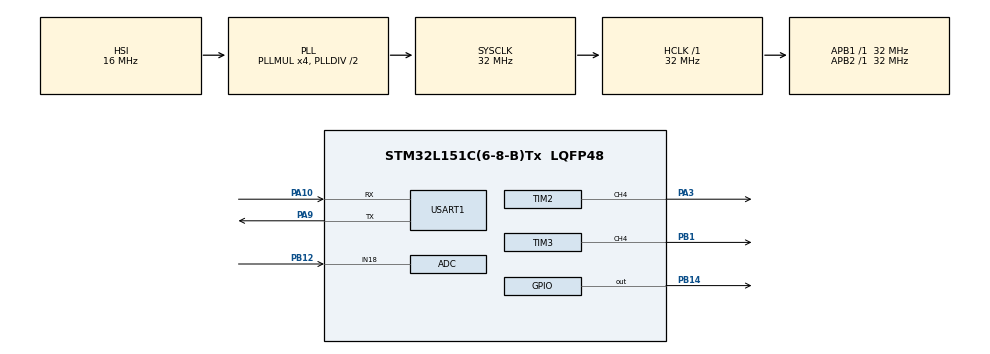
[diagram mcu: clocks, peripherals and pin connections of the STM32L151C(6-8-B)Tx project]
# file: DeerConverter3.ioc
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ADC.Channel-2\#ChannelRegularConversion=ADC_CHANNEL_18
ADC.DMAContinuousRequests=ENABLE
ADC.ExternalTrigConv=ADC_EXTERNALTRIGCONV_T3_TRGO
ADC.NbrOfConversionFlag=1
ADC.Rank-2\#ChannelRegularConversion=1
ADC.SamplingTime-2\#ChannelRegularConversion=ADC_SAMPLETIME_4CYCLES
ADC.ScanConvMode=ADC_SCAN_ENABLE
Dma.ADC.0.Direction=DMA_PERIPH_TO_MEMORY
Dma.ADC.0.Instance=DMA1_Channel1
Dma.ADC.0.MemDataAlignment=DMA_MDATAALIGN_HALFWORD
Dma.ADC.0.MemInc=DMA_MINC_ENABLE
Dma.ADC.0.Mode=DMA_CIRCULAR
Dma.ADC.0.PeriphDataAlignment=DMA_PDATAALIGN_HALFWORD
Dma.ADC.0.PeriphInc=DMA_PINC_DISABLE
Dma.ADC.0.Priority=DMA_PRIORITY_VERY_HIGH
Dma.Request0=ADC
Mcu.Family=STM32L1
Mcu.Name=STM32L151C(6-8-B)Tx
Mcu.Package=LQFP48
NVIC.ADC1_IRQn=true\:0\:0\:false\:false\:true\:true\:true\:true
NVIC.DMA1_Channel1_IRQn=true\:0\:0\:false\:false\:true\:false\:true\:true
NVIC.PriorityGroup=NVIC_PRIORITYGROUP_4
NVIC.TIM2_IRQn=true\:0\:0\:false\:false\:true\:true\:true\:true
PA10.Mode=Asynchronous
PA10.Signal=USART1_RX
PA13.Mode=Serial_Wire
PA13.Signal=SYS_JTMS-SWDIO
PA14.Mode=Serial_Wire
PA14.Signal=SYS_JTCK-SWCLK
PA3.Signal=S_TIM2_CH4
PA9.Mode=Asynchronous
PA9.Signal=USART1_TX
PB1.Signal=S_TIM3_CH4
PB12.Mode=IN18
PB12.Signal=ADC_IN18
PB14.GPIO_Speed=GPIO_SPEED_FREQ_VERY_HIGH
PB14.Signal=GPIO_Output
ProjectManager.HeapSize=0x200
ProjectManager.StackSize=0x400
ProjectManager.TargetToolchain=STM32CubeIDE
RCC.48MHZClocksFreq_Value=32000000
RCC.AHBFreq_Value=32000000
RCC.APB1Freq_Value=32000000
RCC.APB1TimFreq_Value=32000000
RCC.APB2Freq_Value=32000000
RCC.APB2TimFreq_Value=32000000
RCC.HCLKFreq_Value=32000000
RCC.HSE_VALUE=24000000
RCC.HSI_VALUE=16000000
RCC.LSE_VALUE=32768
RCC.MSI_VALUE=2097000
RCC.PLLMUL=RCC_PLL_MUL4
RCC.SYSCLKFreq_VALUE=32000000
RCC.SYSCLKSource=RCC_SYSCLKSOURCE_PLLCLK
RCC.VCOOutputFreq_Value=64000000
SH.S_TIM2_CH4.0=TIM2_CH4,PWM Generation4 CH4
SH.S_TIM3_CH4.0=TIM3_CH4,Output Compare4 CH4
TIM2.AutoReloadPreload=TIM_AUTORELOAD_PRELOAD_ENABLE
TIM2.Channel-PWM\ Generation4\ CH4=TIM_CHANNEL_4
TIM2.CounterMode=TIM_COUNTERMODE_CENTERALIGNED3
TIM2.Period=100
TIM2.Prescaler=0
TIM2.Pulse-PWM\ Generation4\ CH4=40
TIM2.TIM_MasterOutputTrigger=TIM_TRGO_UPDATE
TIM2.TIM_MasterSlaveMode=TIM_MASTERSLAVEMODE_DISABLE
TIM3.AutoReloadPreload=TIM_AUTORELOAD_PRELOAD_ENABLE
TIM3.Channel-Output\ Compare4\ CH4=TIM_CHANNEL_4
TIM3.CounterMode=TIM_COUNTERMODE_CENTERALIGNED3
TIM3.OCMode_4=TIM_OCMODE_TOGGLE
TIM3.Period=200
TIM3.Pulse-Output\ Compare4\ CH4=100
TIM3.TIM_MasterOutputTrigger=TIM_TRGO_OC1
TIM3.TIM_MasterSlaveMode=TIM_MASTERSLAVEMODE_DISABLE
TIM4.Channel-PWM\ Generation4\ No\ Output=TIM_CHANNEL_4
TIM4.Period=99
TIM4.TIM_MasterOutputTrigger=TIM_TRGO_UPDATE
USART1.VirtualMode=VM_ASYNC
VP_TIM2_VS_ClockSourceINT.Mode=Internal
VP_TIM2_VS_ClockSourceITR.Mode=TriggerSource_ITR3
VP_TIM2_VS_ControllerModeTrigger.Mode=Trigger Mode
VP_TIM3_VS_ClockSourceITR.Mode=TriggerSource_ITR3
VP_TIM3_VS_ControllerModeTrigger.Mode=Trigger Mode
VP_TIM4_VS_no_output4.Mode=PWM Generation4 No Output
board=custom

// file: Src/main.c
/* USER CODE BEGIN Header */
/**
  ******************************************************************************
  * @file           : main.c
  * @brief          : Main program body
  ******************************************************************************
  * @attention
  *
  * Copyright (c) 2026 STMicroelectronics.
  * All rights reserved.
  *
  * This software is licensed under terms that can be found in the LICENSE file
  * in the root directory of this software component.
  * If no LICENSE file comes with this software, it is provided AS-IS.
  *
  ******************************************************************************
  */
/* USER CODE END Header */
#include "main.h"

/* USER CODE BEGIN Includes */
#include <stdint.h>
#include <stdio.h>
#include <stdlib.h>
#include "control_params.h"
#include "compensator.h"
/* USER CODE END Includes */

/* USER CODE BEGIN PD */
//#define VREFINT_CAL_ADDR ((uint16_t*) ((uint32_t)0x1FF80078))

#define DUTY_TICKS_MIN (0)
#define DUTY_TICKS_MAX (80) //given by 0.8*arr_val (which is 100)
#define SCALE (1 << 20)
#define Kp 0.002
#define Ki 0.00009
#define KP_SCALED (uint32_t)(Kp * SCALE)
#define KI_SCALED (uint32_t)(Ki * SCALE)
#define SOFT_START_PRESCALER (2)

/* USER CODE END PD */

ADC_HandleTypeDef hadc;
DMA_HandleTypeDef hdma_adc;

TIM_HandleTypeDef htim2;
TIM_HandleTypeDef htim3;
TIM_HandleTypeDef htim4;

UART_HandleTypeDef huart1;

void SystemClock_Config(void);
static void MX_GPIO_Init(void);
static void MX_DMA_Init(void);
static void MX_TIM2_Init(void);
static void MX_ADC_Init(void);
static void MX_USART1_UART_Init(void);
static void MX_TIM3_Init(void);
static void MX_TIM4_Init(void);

/* USER CODE BEGIN 0 */
//int switching_frequency = 160000;
float y_n[4] = {0}; //duty cycle output and previous duty cycle outputs
float e_n[4] = {0}; //error (vref - vmeasured). scaled by the ADC and resistor divider network feeding into ADC
float Vin = 12.0;
float integral = 0.0;
int32_t closed_loop_pulse; //the pulse determined by the controller when in closed-feedback loop mode
int32_t the_new_integral=0; //this term is being used for a new, hopefully faster PI controller
int32_t new_PI_output = 0.0;
const int32_t duty_ticks_max_scaled = SCALE*DUTY_TICKS_MAX;
int32_t v_error;
uint32_t period; //the ARR register value. Clock freq/(arr+1)(prescaler+1) = pwm frequency
uint32_t ADC_Val[1]; //the value calculated by the ADC
uint32_t vrefint_cal;
uint32_t open_loop_pulse = 0; //the duty cycle
uint32_t vref = 0; //the reference voltage to track scaled by the adc and resistor divider network. it starts@0 and goes up to the target value defined by PARAM_VREF
uint16_t start_converter = 1; //start converter and is converter switching are variable to track the state of converter
uint16_t converter_is_switching = 0; //start converter lets you, well, start the converter
uint16_t open_loop_test = 0; //open loop lets you dictate whether you want to manually set the pwm value to a specific value or have it be determined by feedback loop
uint32_t soft_start_divider = 0;
struct type3_COMP type_three_compensator = {0};
void control_fast_loop();
void compensator_reset();
void PI_controller(int16_t);
void new_PI_controller(int32_t);
void HAL_ADC_ConvCpltCallback(ADC_HandleTypeDef *hadc) //this function is called when an ADC reading has been completed
{
	HAL_GPIO_WritePin(GPIOB, GPIO_PIN_14, 1); //toggles the LED that the pink waveform was measuring
	control_fast_loop(); //run the PI controller
	HAL_GPIO_WritePin(GPIOB, GPIO_PIN_14, 0);
}
/* USER CODE END 0 */

int main(void)
{

  /* USER CODE BEGIN 1 */
//	vrefint_cal = *((uint16_t*)0x1FF80078);
  /* USER CODE END 1 */

  /* MCU Configuration--------------------------------------------------------*/

  /* Reset of all peripherals, Initializes the Flash interface and the Systick. */
  HAL_Init();

  /* Configure the system clock */
  SystemClock_Config();

  /* Initialize all configured peripherals */
  MX_GPIO_Init();
  MX_DMA_Init();
  MX_TIM2_Init();
  MX_ADC_Init();
  MX_USART1_UART_Init();
  MX_TIM3_Init();
  MX_TIM4_Init();
  /* USER CODE BEGIN 2 */
  compensator_init(&type_three_compensator);

  /* USER CODE END 2 */

  /* Infinite loop */
  /* USER CODE BEGIN WHILE */
  while (1)
  {
//below shows the logic to start the converter
//	  soft_start_divider += 1;
//	  if(soft_start_divider>= SOFT_START_PRESCALER)
//	  {
		  if(vref < PARAM_VREF)
		  {
		  vref = vref + 1;
		  }
		  if(type_three_compensator.max_val < MAX_COMP_VAL)
		  {
			  type_three_compensator.max_val = 0 + (90 * vref) / PARAM_VREF;  // 20% → 90% as vref rises
		  }
//		  soft_start_divider = 0;
//	  }

	  if(start_converter == 1){
		  if(converter_is_switching == 0){
			  HAL_TIM_Base_Start(&htim2); //start the timer
			  HAL_TIM_PWM_Start(&htim2, TIM_CHANNEL_4); //start the PWM from timer2 channel 4
			  HAL_TIM_Base_Start(&htim3);
			  HAL_TIM_OC_Start(&htim3, TIM_CHANNEL_4);
//			  HAL_TIM_PWM_Start(&htim3, TIM_CHANNEL_4);
			  HAL_Delay(1000);
			  if(open_loop_test == 1){
				  __HAL_TIM_SET_COMPARE(&htim2, TIM_CHANNEL_4, open_loop_pulse);
			  }

			  HAL_TIM_Base_Start(&htim4);

			  converter_is_switching = 1;
			  HAL_ADC_Start_DMA(&hadc, (uint32_t*)ADC_Val, 1);
		  }

	  }
	  else { //otherwise if start converter is set to false, meaning we don't want to start the converter
		  //we stop the converter if it is running
		  if(converter_is_switching==1){
			  HAL_ADC_Stop_IT(&hadc);
			  HAL_TIM_PWM_Stop(&htim2, TIM_CHANNEL_4); //if converter is running we stop it by stopping the pwm
			  converter_is_switching = 0;
//			  compensator_reset();
			  vref = 0;
//			  integral = 0.0;
			  the_new_integral = 0;
		  }
	  }
	  }
    /* USER CODE END WHILE */

}

void SystemClock_Config(void)
{
  RCC_OscInitTypeDef RCC_OscInitStruct = {0};
  RCC_ClkInitTypeDef RCC_ClkInitStruct = {0};

  /** Configure the main internal regulator output voltage
  */
  __HAL_PWR_VOLTAGESCALING_CONFIG(PWR_REGULATOR_VOLTAGE_SCALE1);

  /** Initializes the RCC Oscillators according to the specified parameters
  * in the RCC_OscInitTypeDef structure.
  */
  RCC_OscInitStruct.OscillatorType = RCC_OSCILLATORTYPE_HSI;
  RCC_OscInitStruct.HSIState = RCC_HSI_ON;
  RCC_OscInitStruct.HSICalibrationValue = RCC_HSICALIBRATION_DEFAULT;
  RCC_OscInitStruct.PLL.PLLState = RCC_PLL_ON;
  RCC_OscInitStruct.PLL.PLLSource = RCC_PLLSOURCE_HSI;
  RCC_OscInitStruct.PLL.PLLMUL = RCC_PLL_MUL4;
  RCC_OscInitStruct.PLL.PLLDIV = RCC_PLL_DIV2;
  if (HAL_RCC_OscConfig(&RCC_OscInitStruct) != HAL_OK)
  {
    Error_Handler();
  }

  /** Initializes the CPU, AHB and APB buses clocks
  */
  RCC_ClkInitStruct.ClockType = RCC_CLOCKTYPE_HCLK|RCC_CLOCKTYPE_SYSCLK
                              |RCC_CLOCKTYPE_PCLK1|RCC_CLOCKTYPE_PCLK2;
  RCC_ClkInitStruct.SYSCLKSource = RCC_SYSCLKSOURCE_PLLCLK;
  RCC_ClkInitStruct.AHBCLKDivider = RCC_SYSCLK_DIV1;
  RCC_ClkInitStruct.APB1CLKDivider = RCC_HCLK_DIV1;
  RCC_ClkInitStruct.APB2CLKDivider = RCC_HCLK_DIV1;

  if (HAL_RCC_ClockConfig(&RCC_ClkInitStruct, FLASH_LATENCY_1) != HAL_OK)
  {
    Error_Handler();
  }
}

static void MX_ADC_Init(void)
{

  ADC_ChannelConfTypeDef sConfig = {0};

  /** Configure the global features of the ADC (Clock, Resolution, Data Alignment and number of conversion)
  */
  hadc.Instance = ADC1;
  hadc.Init.ClockPrescaler = ADC_CLOCK_ASYNC_DIV1;
  hadc.Init.Resolution = ADC_RESOLUTION_12B;
  hadc.Init.DataAlign = ADC_DATAALIGN_RIGHT;
  hadc.Init.ScanConvMode = ADC_SCAN_ENABLE;
  hadc.Init.EOCSelection = ADC_EOC_SEQ_CONV;
  hadc.Init.LowPowerAutoWait = ADC_AUTOWAIT_DISABLE;
  hadc.Init.LowPowerAutoPowerOff = ADC_AUTOPOWEROFF_DISABLE;
  hadc.Init.ChannelsBank = ADC_CHANNELS_BANK_A;
  hadc.Init.ContinuousConvMode = DISABLE;
  hadc.Init.NbrOfConversion = 1;
  hadc.Init.DiscontinuousConvMode = DISABLE;
  hadc.Init.ExternalTrigConv = ADC_EXTERNALTRIGCONV_T3_TRGO;
  hadc.Init.ExternalTrigConvEdge = ADC_EXTERNALTRIGCONVEDGE_RISING;
  hadc.Init.DMAContinuousRequests = ENABLE;
  if (HAL_ADC_Init(&hadc) != HAL_OK)
  {
    Error_Handler();
  }

  /** Configure for the selected ADC regular channel its corresponding rank in the sequencer and its sample time.
  */
  sConfig.Channel = ADC_CHANNEL_18;
  sConfig.Rank = ADC_REGULAR_RANK_1;
  sConfig.SamplingTime = ADC_SAMPLETIME_4CYCLES;
  if (HAL_ADC_ConfigChannel(&hadc, &sConfig) != HAL_OK)
  {
    Error_Handler();
  }

}

static void MX_TIM2_Init(void)
{

  TIM_ClockConfigTypeDef sClockSourceConfig = {0};
  TIM_SlaveConfigTypeDef sSlaveConfig = {0};
  TIM_MasterConfigTypeDef sMasterConfig = {0};
  TIM_OC_InitTypeDef sConfigOC = {0};

  htim2.Instance = TIM2;
  htim2.Init.Prescaler = 0;
  htim2.Init.CounterMode = TIM_COUNTERMODE_CENTERALIGNED3;
  htim2.Init.Period = 100;
  htim2.Init.ClockDivision = TIM_CLOCKDIVISION_DIV1;
  htim2.Init.AutoReloadPreload = TIM_AUTORELOAD_PRELOAD_ENABLE;
  if (HAL_TIM_Base_Init(&htim2) != HAL_OK)
  {
    Error_Handler();
  }
  sClockSourceConfig.ClockSource = TIM_CLOCKSOURCE_INTERNAL;
  if (HAL_TIM_ConfigClockSource(&htim2, &sClockSourceConfig) != HAL_OK)
  {
    Error_Handler();
  }
  if (HAL_TIM_PWM_Init(&htim2) != HAL_OK)
  {
    Error_Handler();
  }
  sSlaveConfig.SlaveMode = TIM_SLAVEMODE_TRIGGER;
  sSlaveConfig.InputTrigger = TIM_TS_ITR3;
  if (HAL_TIM_SlaveConfigSynchro(&htim2, &sSlaveConfig) != HAL_OK)
  {
    Error_Handler();
  }
  sMasterConfig.MasterOutputTrigger = TIM_TRGO_UPDATE;
  sMasterConfig.MasterSlaveMode = TIM_MASTERSLAVEMODE_DISABLE;
  if (HAL_TIMEx_MasterConfigSynchronization(&htim2, &sMasterConfig) != HAL_OK)
  {
    Error_Handler();
  }
  sConfigOC.OCMode = TIM_OCMODE_PWM1;
  sConfigOC.Pulse = 0;
  sConfigOC.OCPolarity = TIM_OCPOLARITY_HIGH;
  sConfigOC.OCFastMode = TIM_OCFAST_DISABLE;
  if (HAL_TIM_PWM_ConfigChannel(&htim2, &sConfigOC, TIM_CHANNEL_4) != HAL_OK)
  {
    Error_Handler();
  }
  /* USER CODE BEGIN TIM2_Init 2 */
  period = htim2.Init.Period;
  open_loop_pulse = sConfigOC.Pulse;
  /* USER CODE END TIM2_Init 2 */
  HAL_TIM_MspPostInit(&htim2);

}

static void MX_TIM3_Init(void)
{

  TIM_SlaveConfigTypeDef sSlaveConfig = {0};
  TIM_MasterConfigTypeDef sMasterConfig = {0};
  TIM_OC_InitTypeDef sConfigOC = {0};

  htim3.Instance = TIM3;
  htim3.Init.Prescaler = 0;
  htim3.Init.CounterMode = TIM_COUNTERMODE_CENTERALIGNED3;
  htim3.Init.Period = 200;
  htim3.Init.ClockDivision = TIM_CLOCKDIVISION_DIV1;
  htim3.Init.AutoReloadPreload = TIM_AUTORELOAD_PRELOAD_ENABLE;
  if (HAL_TIM_Base_Init(&htim3) != HAL_OK)
  {
    Error_Handler();
  }
  if (HAL_TIM_OC_Init(&htim3) != HAL_OK)
  {
    Error_Handler();
  }
  sSlaveConfig.SlaveMode = TIM_SLAVEMODE_TRIGGER;
  sSlaveConfig.InputTrigger = TIM_TS_ITR3;
  if (HAL_TIM_SlaveConfigSynchro(&htim3, &sSlaveConfig) != HAL_OK)
  {
    Error_Handler();
  }
  sMasterConfig.MasterOutputTrigger = TIM_TRGO_OC1;
  sMasterConfig.MasterSlaveMode = TIM_MASTERSLAVEMODE_DISABLE;
  if (HAL_TIMEx_MasterConfigSynchronization(&htim3, &sMasterConfig) != HAL_OK)
  {
    Error_Handler();
  }
  sConfigOC.OCMode = TIM_OCMODE_TOGGLE;
  sConfigOC.Pulse = 100;
  sConfigOC.OCPolarity = TIM_OCPOLARITY_HIGH;
  sConfigOC.OCFastMode = TIM_OCFAST_DISABLE;
  if (HAL_TIM_OC_ConfigChannel(&htim3, &sConfigOC, TIM_CHANNEL_4) != HAL_OK)
  {
    Error_Handler();
  }
  HAL_TIM_MspPostInit(&htim3);

}

static void MX_TIM4_Init(void)
{

  TIM_MasterConfigTypeDef sMasterConfig = {0};
  TIM_OC_InitTypeDef sConfigOC = {0};

  htim4.Instance = TIM4;
  htim4.Init.Prescaler = 0;
  htim4.Init.CounterMode = TIM_COUNTERMODE_UP;
  htim4.Init.Period = 99;
  htim4.Init.ClockDivision = TIM_CLOCKDIVISION_DIV1;
  htim4.Init.AutoReloadPreload = TIM_AUTORELOAD_PRELOAD_DISABLE;
  if (HAL_TIM_PWM_Init(&htim4) != HAL_OK)
  {
    Error_Handler();
  }
  sMasterConfig.MasterOutputTrigger = TIM_TRGO_UPDATE;
  sMasterConfig.MasterSlaveMode = TIM_MASTERSLAVEMODE_DISABLE;
  if (HAL_TIMEx_MasterConfigSynchronization(&htim4, &sMasterConfig) != HAL_OK)
  {
    Error_Handler();
  }
  sConfigOC.OCMode = TIM_OCMODE_PWM1;
  sConfigOC.Pulse = 0;
  sConfigOC.OCPolarity = TIM_OCPOLARITY_HIGH;
  sConfigOC.OCFastMode = TIM_OCFAST_DISABLE;
  if (HAL_TIM_PWM_ConfigChannel(&htim4, &sConfigOC, TIM_CHANNEL_4) != HAL_OK)
  {
    Error_Handler();
  }

}

static void MX_USART1_UART_Init(void)
{

  huart1.Instance = USART1;
  huart1.Init.BaudRate = 115200;
  huart1.Init.WordLength = UART_WORDLENGTH_8B;
  huart1.Init.StopBits = UART_STOPBITS_1;
  huart1.Init.Parity = UART_PARITY_NONE;
  huart1.Init.Mode = UART_MODE_TX_RX;
  huart1.Init.HwFlowCtl = UART_HWCONTROL_NONE;
  huart1.Init.OverSampling = UART_OVERSAMPLING_16;
  if (HAL_UART_Init(&huart1) != HAL_OK)
  {
    Error_Handler();
  }

}

static void MX_DMA_Init(void)
{

  /* DMA controller clock enable */
  __HAL_RCC_DMA1_CLK_ENABLE();

  /* DMA interrupt init */
  /* DMA1_Channel1_IRQn interrupt configuration */
  HAL_NVIC_SetPriority(DMA1_Channel1_IRQn, 0, 0);
  HAL_NVIC_EnableIRQ(DMA1_Channel1_IRQn);

}

static void MX_GPIO_Init(void)
{
  GPIO_InitTypeDef GPIO_InitStruct = {0};

  /* GPIO Ports Clock Enable */
  __HAL_RCC_GPIOC_CLK_ENABLE();
  __HAL_RCC_GPIOH_CLK_ENABLE();
  __HAL_RCC_GPIOA_CLK_ENABLE();
  __HAL_RCC_GPIOB_CLK_ENABLE();

  /*Configure GPIO pin Output Level */
  HAL_GPIO_WritePin(GPIOB, GPIO_PIN_14, GPIO_PIN_RESET);

  /*Configure GPIO pins : PC13 PC14 PC15 */
  GPIO_InitStruct.Pin = GPIO_PIN_13|GPIO_PIN_14|GPIO_PIN_15;
  GPIO_InitStruct.Mode = GPIO_MODE_ANALOG;
  GPIO_InitStruct.Pull = GPIO_NOPULL;
  HAL_GPIO_Init(GPIOC, &GPIO_InitStruct);

  /*Configure GPIO pins : PH0 PH1 */
  GPIO_InitStruct.Pin = GPIO_PIN_0|GPIO_PIN_1;
  GPIO_InitStruct.Mode = GPIO_MODE_ANALOG;
  GPIO_InitStruct.Pull = GPIO_NOPULL;
  HAL_GPIO_Init(GPIOH, &GPIO_InitStruct);

  /*Configure GPIO pins : PA0 PA1 PA2 PA4
                           PA5 PA6 PA7 PA8
                           PA11 PA12 PA15 */
  GPIO_InitStruct.Pin = GPIO_PIN_0|GPIO_PIN_1|GPIO_PIN_2|GPIO_PIN_4
                          |GPIO_PIN_5|GPIO_PIN_6|GPIO_PIN_7|GPIO_PIN_8
                          |GPIO_PIN_11|GPIO_PIN_12|GPIO_PIN_15;
  GPIO_InitStruct.Mode = GPIO_MODE_ANALOG;
  GPIO_InitStruct.Pull = GPIO_NOPULL;
  HAL_GPIO_Init(GPIOA, &GPIO_InitStruct);

  /*Configure GPIO pins : PB0 PB2 PB10 PB11
                           PB13 PB15 PB3 PB4
                           PB5 PB6 PB7 PB8
                           PB9 */
  GPIO_InitStruct.Pin = GPIO_PIN_0|GPIO_PIN_2|GPIO_PIN_10|GPIO_PIN_11
                          |GPIO_PIN_13|GPIO_PIN_15|GPIO_PIN_3|GPIO_PIN_4
                          |GPIO_PIN_5|GPIO_PIN_6|GPIO_PIN_7|GPIO_PIN_8
                          |GPIO_PIN_9;
  GPIO_InitStruct.Mode = GPIO_MODE_ANALOG;
  GPIO_InitStruct.Pull = GPIO_NOPULL;
  HAL_GPIO_Init(GPIOB, &GPIO_InitStruct);

  /*Configure GPIO pin : PB14 */
  GPIO_InitStruct.Pin = GPIO_PIN_14;
  GPIO_InitStruct.Mode = GPIO_MODE_OUTPUT_PP;
  GPIO_InitStruct.Pull = GPIO_NOPULL;
  GPIO_InitStruct.Speed = GPIO_SPEED_FREQ_VERY_HIGH;
  HAL_GPIO_Init(GPIOB, &GPIO_InitStruct);

}

/* USER CODE BEGIN 4 */

void control_fast_loop(){
		type_three_compensator.x[0] = PARAM_VREF - ADC_Val[0]; //obtain verror
//		new_PI_controller(v_error);
			__HAL_TIM_SET_COMPARE(&htim2, TIM_CHANNEL_4, compensator_step(&type_three_compensator));
}

void new_PI_controller(int32_t error){ //new PI_controller, uses only ints and scales them
	the_new_integral+=KI_SCALED*error;
	new_PI_output = (KP_SCALED*error) + the_new_integral;
	//scale output correctly here
//	new_PI_output = new_PI_output;
	if(new_PI_output>duty_ticks_max_scaled){
		new_PI_output = duty_ticks_max_scaled;
		the_new_integral -= KI_SCALED*error;
	}
	else if(new_PI_output < 0){ //if we do clamp the output, the current integral term, KI*error, should not be factored into the total integral term for the next loop.
		new_PI_output = 0;
		the_new_integral -=KI_SCALED*error;
	}
	else{ //if we don't need to clamp the output, ie, it is behaving, then we can factor the current integral term into the next integral term
		//nothing here
	}
	closed_loop_pulse = new_PI_output/SCALE;
}
void control(void){

}
/* USER CODE END 4 */

void Error_Handler(void)
{
  __disable_irq();
  while (1)
  {
  }
}
